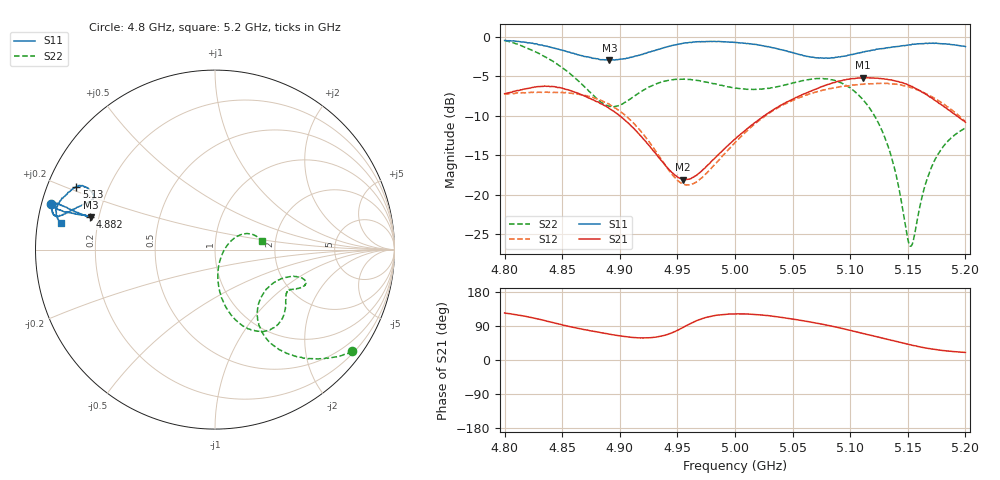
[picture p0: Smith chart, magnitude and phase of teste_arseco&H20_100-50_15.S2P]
! Network Analyzer HP8722D
! Hewlett-Packard
! Data name: Linha & Wilkinson
! Saver's name: Rodrigo Anjos
! Comments: Teste da utilização de aquisição
! continua pelo VNA HP8722D
! Time and date: 6/5/2025 12:41
!  Frequency  S11  S21  S12  S22
# HZ  S  MA R 50
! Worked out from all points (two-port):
!   401 points, 4.8 GHz to 5.2 GHz, reference 50 ohm
!   highest |S21| = -5.15 dB at 5.111 GHz (marker M1); lowest = -18.1 dB at 4.955 GHz (marker M2)
!   |S21| within 3 dB of the highest: start of sweep to 4.879 GHz; 5.046 GHz to 5.175 GHz (128.3 MHz wide, 2.51 % of centre)
!   lowest |S11| = -2.9 dB at 4.891 GHz (marker M3), VSWR 6.01, Z = 8.45 + j6.29 ohm
!   |S11| at or under -10 dB: nowhere
!   |S22| runs from -26.5 to -0.4 dB; largest |S21 - S12| = 0.71
!   S11 on the Smith chart (normalised r, x): 4.8 GHz: 0.03, +0.14; 4.882 GHz: 0.16, +0.13; 5.13 GHz: 0.09, +0.21; 5.2 GHz: 0.07, +0.08
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4.8e9  0.9511 164.4  0.437 124.3  0.434 19.3  0.951 -36.5
4.833e9  0.8871 165.7  0.4858 105.6  0.4453 9.0  0.7628 -51.7
4.867e9  0.7611 165.4  0.4298 81.7  0.4294 -5.1  0.5035 -60.0
4.882e9  0.7216 165.2  0.3838 73.3  0.4012 -13.5  0.3953 -52.7
4.891e9  0.7148 165.2  0.3513 68.1  0.3745 -19.3  0.3639 -42.4
4.91e9  0.7436 165.2  0.2721 59.9  0.2937 -30.1  0.409 -23.1
4.934e9  0.8361 164.4  0.1712 61.7  0.1765 -32.5  0.5126 -18.1
4.955e9  0.9123 163.8  0.1246 86.1  0.1168 -7.1  0.5404 -20.8
4.969e9  0.9356 164.2  0.1372 106.7  0.1242 17.2  0.5285 -23.4
5e9  0.9246 167.5  0.2252 121.5  0.2141 40.0  0.4744 -27.9
5.034e9  0.8524 166.1  0.3484 115.0  0.3447 36.1  0.4793 -34.7
5.067e9  0.7443 158.8  0.458 99.6  0.4415 21.9  0.5407 -47.6
5.089e9  0.7457 155.6  0.5226 86.1  0.4806 10.0  0.5224 -60.7
5.111e9  0.8041 154.3  0.5526 70.1  0.5011 -3.2  0.4012 -74.2
5.13e9  0.8476 155.7  0.5407 56.6  0.5084 -14.9  0.2312 -83.7
5.134e9  0.8568 156.3  0.5355 53.6  0.5051 -17.8  0.1915 -84.4
5.141e9  0.8701 158.1  0.523 48.4  0.5004 -22.6  0.1223 -81.8
5.15e9  0.8877 160.5  0.4976 41.8  0.4847 -28.7  0.05226 -48.2
5.153e9  0.8937 161.2  0.4874 39.5  0.477 -30.8  0.04722 -18.8
5.164e9  0.9081 164.0  0.4426 32.5  0.4439 -37.6  0.1079 29.2
5.172e9  0.914 165.6  0.4036 28.5  0.4134 -42.1  0.1575 30.4
5.2e9  0.8697 170.3  0.2878 19.9  0.2913 -52.0  0.264 10.2
